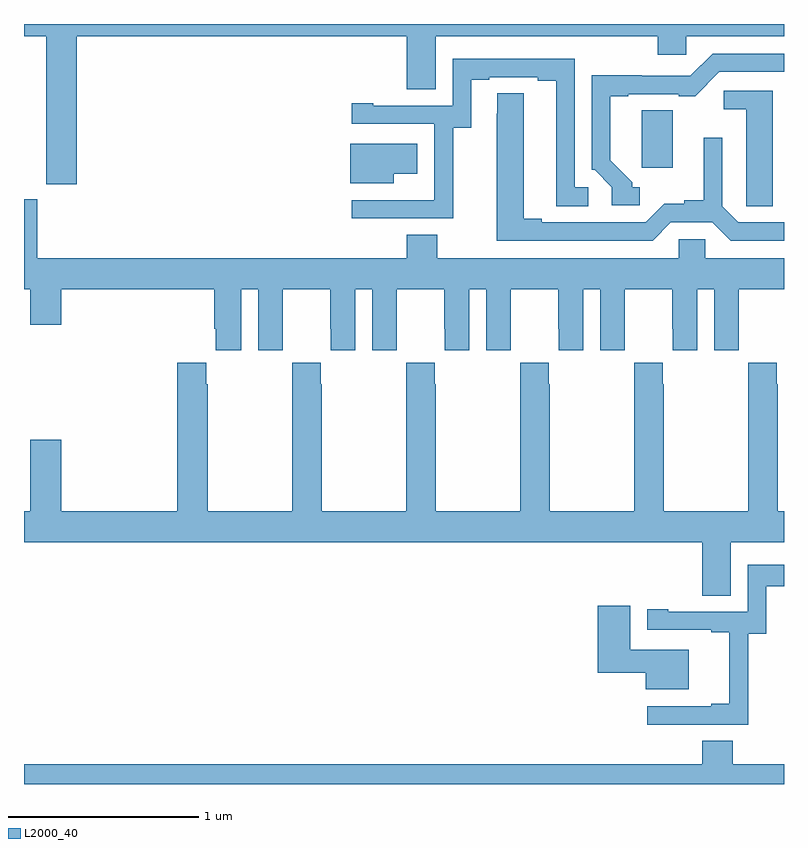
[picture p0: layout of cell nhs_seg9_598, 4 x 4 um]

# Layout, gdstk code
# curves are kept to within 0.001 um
import gdstk
lib = gdstk.Library(unit=1e-6, precision=1e-09)
def P(c, l, *ps):  # polygons
    for p in ps: c.add(gdstk.Polygon(p, *l))
L2000_40 = (2000, 40)

nhs_seg9_598 = lib.new_cell('nhs_seg9_598')
P(nhs_seg9_598, L2000_40, [(141,1180.436),(141.118,1180.436),(141.118,1179.657),(141.278,1179.657),(141.278,1180.436),(143.015,1180.436),(143.015,1180.156),(143.167,1180.156),(143.167,1180.436),(144.335,1180.436),(144.335,1180.338),(144.486,1180.338),(144.486,1180.436),(145,1180.436),(145,1180.5),(141,1180.5)],
  [(144.241,1179.642),(144.202,1179.642),(144.202,1179.666),(144.085,1179.782),(144.085,1180.119),(144.181,1180.119),(144.181,1180.131),(144.446,1180.131),(144.446,1180.12),(144.532,1180.12),(144.66,1180.248),(145,1180.248),(145,1180.344),(144.624,1180.344),(144.507,1180.227),(144.251,1180.227),(144.251,1180.229),(143.988,1180.229),(143.988,1179.732),(144.003,1179.732),(144.093,1179.642),(144.093,1179.546),(144.241,1179.546)],
  [(143.259,1179.955),(143.353,1179.955),(143.353,1180.206),(143.449,1180.206),(143.449,1180.221),(143.705,1180.221),(143.705,1180.201),(143.801,1180.201),(143.801,1179.541),(143.971,1179.541),(143.971,1179.642),(143.898,1179.642),(143.898,1180.317),(143.256,1180.317),(143.256,1180.071),(142.837,1180.071),(142.837,1180.084),(142.725,1180.084),(142.725,1179.975),(143.16,1179.975),(143.16,1179.574),(143.159,1179.574),(143.159,1179.573),(142.725,1179.573),(142.725,1179.477),(143.259,1179.477)],
  [(144.94,1180.149),(144.684,1180.149),(144.684,1180.052),(144.8,1180.052),(144.8,1179.649),(144.801,1179.649),(144.801,1179.541),(144.94,1179.541)],
  [(144.405,1179.456),(144.623,1179.456),(144.719,1179.36),(145,1179.36),(145,1179.456),(144.759,1179.456),(144.675,1179.54),(144.675,1179.901),(144.578,1179.901),(144.578,1179.572),(144.474,1179.572),(144.474,1179.554),(144.371,1179.554),(144.273,1179.456),(143.725,1179.456),(143.725,1179.476),(143.629,1179.476),(143.629,1180.136),(143.49,1180.136),(143.489,1179.36),(144.309,1179.36)],
  [(144.415,1179.888),(144.414,1179.888),(144.414,1180.046),(144.251,1180.046),(144.251,1179.744),(144.415,1179.744)],
  [(142.945,1179.713),(143.071,1179.713),(143.071,1179.871),(142.718,1179.871),(142.718,1179.662),(142.945,1179.662)],
  [(142.144,1179.104),(142.232,1179.104),(142.232,1178.784),(142.362,1178.784),(142.362,1178.896),(142.363,1178.896),(142.363,1179.104),(142.613,1179.104),(142.613,1178.896),(142.614,1178.896),(142.614,1178.784),(142.744,1178.784),(142.744,1179.104),(142.832,1179.104),(142.832,1178.784),(142.962,1178.784),(142.962,1178.896),(142.963,1178.896),(142.963,1179.104),(143.213,1179.104),(143.213,1178.896),(143.214,1178.896),(143.214,1178.784),(143.344,1178.784),(143.344,1179.104),(143.432,1179.104),(143.432,1178.784),(143.562,1178.784),(143.562,1178.896),(143.563,1178.896),(143.563,1179.104),(143.813,1179.104),(143.813,1178.896),(143.814,1178.896),(143.814,1178.784),(143.944,1178.784),(143.944,1179.104),(144.032,1179.104),(144.032,1178.784),(144.162,1178.784),(144.162,1178.896),(144.163,1178.896),(144.163,1179.104),(144.413,1179.104),(144.413,1178.896),(144.414,1178.896),(144.414,1178.784),(144.544,1178.784),(144.544,1179.104),(144.632,1179.104),(144.632,1178.784),(144.762,1178.784),(144.762,1178.896),(144.763,1178.896),(144.763,1179.104),(145,1179.104),(145,1179.268),(144.585,1179.268),(144.585,1179.366),(144.447,1179.366),(144.447,1179.268),(143.175,1179.268),(143.175,1179.392),(143.015,1179.392),(143.015,1179.268),(141.07,1179.268),(141.07,1179.577),(141,1179.577),(141,1179.104),(141.032,1179.104),(141.032,1178.916),(141.196,1178.916),(141.196,1179.104),(142.001,1179.104),(142.001,1178.896),(142.01,1178.896),(142.01,1178.784),(142.144,1178.784)],
  [(144.569,1177.492),(144.721,1177.492),(144.721,1177.772),(145,1177.772),(145,1177.936),(144.966,1177.936),(144.966,1178.603),(144.963,1178.603),(144.963,1178.716),(144.813,1178.716),(144.813,1178.603),(144.811,1178.603),(144.811,1177.936),(144.366,1177.936),(144.366,1178.603),(144.363,1178.603),(144.363,1178.716),(144.213,1178.716),(144.213,1178.603),(144.211,1178.603),(144.211,1177.936),(143.766,1177.936),(143.766,1178.603),(143.763,1178.603),(143.763,1178.716),(143.613,1178.716),(143.613,1178.603),(143.611,1178.603),(143.611,1177.936),(143.166,1177.936),(143.166,1178.603),(143.163,1178.603),(143.163,1178.716),(143.013,1178.716),(143.013,1178.603),(143.011,1178.603),(143.011,1177.936),(142.566,1177.936),(142.566,1178.603),(142.563,1178.603),(142.563,1178.716),(142.413,1178.716),(142.413,1178.603),(142.411,1178.603),(142.411,1177.936),(141.966,1177.936),(141.966,1178.603),(141.959,1178.603),(141.959,1178.716),(141.806,1178.716),(141.806,1177.936),(141.196,1177.936),(141.196,1178.311),(141.032,1178.311),(141.032,1177.936),(141,1177.936),(141,1177.772),(144.569,1177.772)],
  [(144.813,1177.291),(144.907,1177.291),(144.907,1177.542),(145,1177.542),(145,1177.653),(144.81,1177.653),(144.81,1177.407),(144.391,1177.407),(144.391,1177.42),(144.279,1177.42),(144.279,1177.311),(144.617,1177.311),(144.617,1177.299),(144.713,1177.299),(144.713,1176.922),(144.617,1176.922),(144.617,1176.909),(144.279,1176.909),(144.279,1176.813),(144.813,1176.813)],
  [(144.499,1177.207),(144.19,1177.207),(144.19,1177.438),(144.02,1177.438),(144.02,1177.085),(144.272,1177.085),(144.272,1176.998),(144.499,1176.998)],
  [(145,1176.604),(144.729,1176.604),(144.729,1176.728),(144.569,1176.728),(144.569,1176.604),(141,1176.604),(141,1176.5),(145,1176.5)])

lib.write_gds('nhs_seg9_598.gds')
